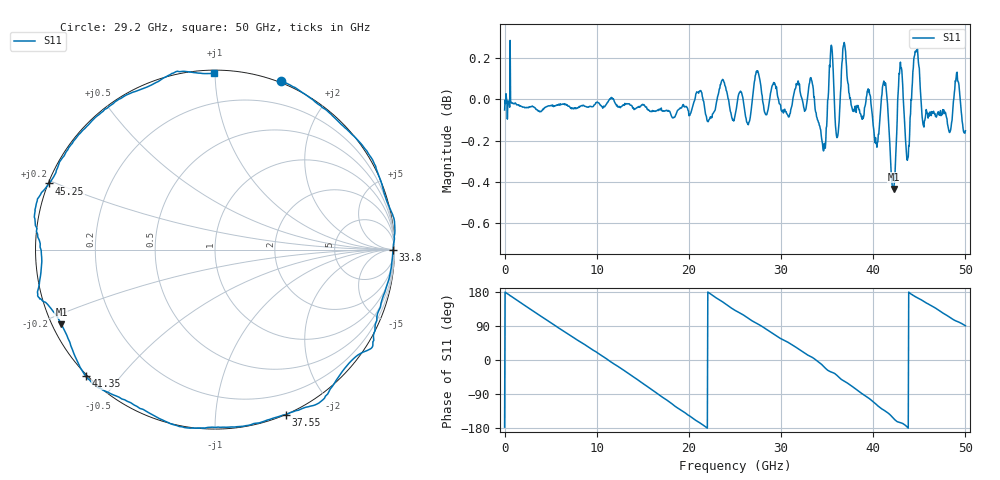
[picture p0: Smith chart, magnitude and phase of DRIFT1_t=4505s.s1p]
!Created with skrf (http://scikit-rf.org).
# Hz S RI R 50.0
!freq ReS11 ImS11
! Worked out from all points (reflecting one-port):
!   1001 points, 300 kHz to 50 GHz, reference 50 ohm
!   lowest |S11| = -0.4 dB at 42.2 GHz (marker M1), VSWR 39.98, Z = 1.32 - j11.5 ohm
!   phase of S11 starts at -177 deg and turns -812 deg over the sweep
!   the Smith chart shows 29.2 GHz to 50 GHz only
!   S11 on the Smith chart (normalised r, x): 29.2 GHz: -0.01, +1.47; 33.8 GHz: open; 37.55 GHz: 0.00, -1.52; 41.35 GHz: -0.01, -0.41; 45.25 GHz: 0.00, +0.19; 50 GHz: 0.02, +0.99
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300000  -0.9929 -0.0494
1.60029e9  -0.8929 0.4429
3.35028e9  -0.571 0.8149
6.250262e9  0.1975 0.9776
9.550243e9  0.8915 0.4441
1.115023e10  0.998 0.0259
1.250022e10  0.9349 -0.3429
1.420021e10  0.6638 -0.7409
1.580021e10  0.251 -0.9611
1.73502e10  -0.2015 -0.9729
1.875019e10  -0.5878 -0.8013
2.160017e10  -0.991 -0.1264
2.350016e10  -0.9212 0.4131
2.500015e10  -0.6504 0.7473
2.730014e10  -0.13 1.007
2.920012e10  0.369 0.9397
3.125011e10  0.7741 0.6319
3.38001e10  0.9926 -0.00431
3.560009e10  0.8571 -0.5579
3.750008e10  0.4066 -0.9147
3.755007e10  0.3937 -0.9188
3.945006e10  -0.1691 -0.9917
4.135005e10  -0.7207 -0.7062
4.220005e10  -0.8556 -0.4157
4.375004e10  -0.9673 -0.0257
4.525003e10  -0.9241 0.3688
4.775001e10  -0.5134 0.8495
5e10  -0.00746 0.9826
